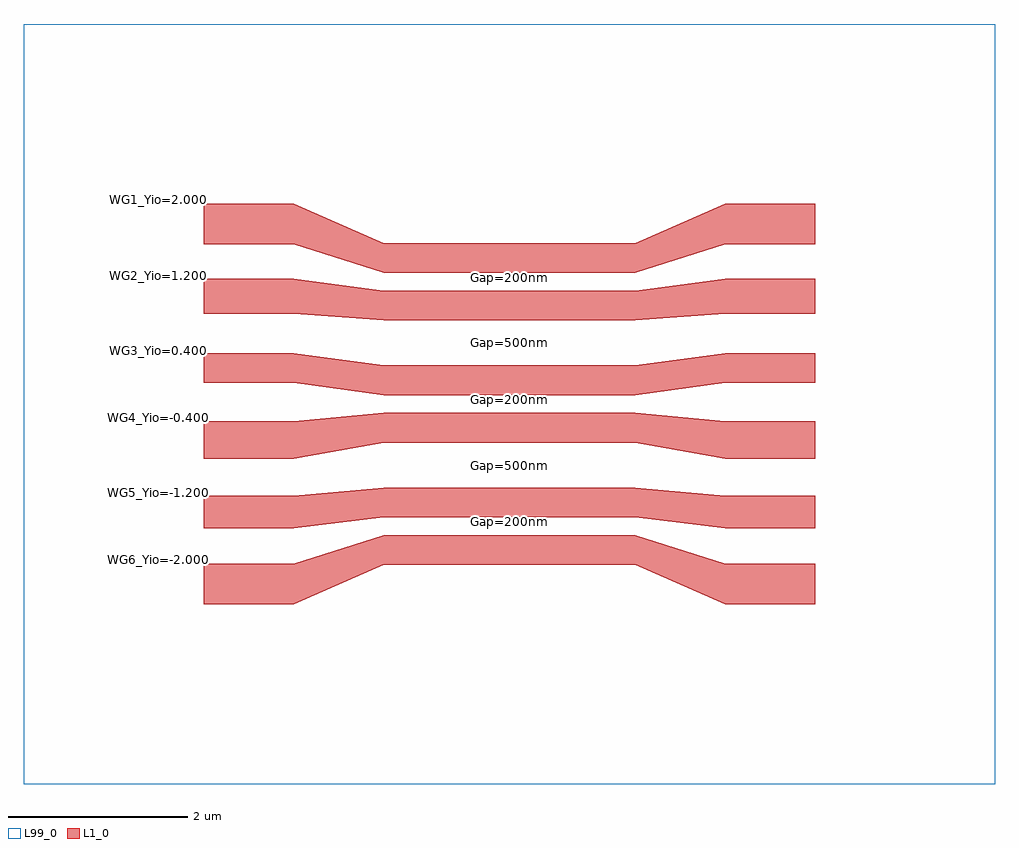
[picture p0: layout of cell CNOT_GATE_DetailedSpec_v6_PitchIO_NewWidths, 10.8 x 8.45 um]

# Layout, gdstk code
import gdstk
lib = gdstk.Library(unit=1e-6, precision=1e-09)
def R(c, l, rs):  # rectangles x0, y0, x1, y1
    for r in rs: c.add(gdstk.rectangle(r[:2], r[2:], *l))
def P(c, l, *ps):  # polygons
    for p in ps: c.add(gdstk.Polygon(p, *l))
L1_0 = (1, 0)
L99_0 = (99, 0)

cnot_gate_detailedspec_v = lib.new_cell('CNOT_GATE_DetailedSpec_v6_PitchIO_NewWidths')
R(cnot_gate_detailedspec_v, L1_0, [(0,-2.225,1,-1.775), (5.8,-2.225,6.8,-1.775), (2,-1.79,4.8,-1.46), (0,-1.38,1,-1.02), (5.8,-1.38,6.8,-1.02), (2,-1.26,4.8,-0.93), (0,-0.61,1,-0.19), (5.8,-0.61,6.8,-0.19), (2,-0.43,4.8,-0.1), (2,0.1,4.8,0.43), (0,0.235,1,0.565), (5.8,0.235,6.8,0.565), (2,0.93,4.8,1.26), (0,1.005,1,1.395), (5.8,1.005,6.8,1.395), (2,1.46,4.8,1.79), (0,1.775,1,2.225), (5.8,1.775,6.8,2.225)])
P(cnot_gate_detailedspec_v, L1_0, [(1,1.775),(2,1.46),(2,1.79),(1,2.225)],
  [(4.8,1.46),(5.8,1.775),(5.8,2.225),(4.8,1.79)],
  [(1,1.005),(2,0.93),(2,1.26),(1,1.395)],
  [(4.8,0.93),(5.8,1.005),(5.8,1.395),(4.8,1.26)],
  [(1,0.235),(2,0.1),(2,0.43),(1,0.565)],
  [(4.8,0.1),(5.8,0.235),(5.8,0.565),(4.8,0.43)],
  [(1,-0.61),(2,-0.43),(2,-0.1),(1,-0.19)],
  [(4.8,-0.43),(5.8,-0.61),(5.8,-0.19),(4.8,-0.1)],
  [(1,-1.38),(2,-1.26),(2,-0.93),(1,-1.02)],
  [(4.8,-1.26),(5.8,-1.38),(5.8,-1.02),(4.8,-0.93)],
  [(1,-2.225),(2,-1.79),(2,-1.46),(1,-1.775)],
  [(4.8,-1.79),(5.8,-2.225),(5.8,-1.775),(4.8,-1.46)])
R(cnot_gate_detailedspec_v, L99_0, [(-2,-4.225,8.8,4.225)])
cnot_gate_detailedspec_v.add(gdstk.Label('WG1_Yio=2.000', (-0.5,2.27), layer=2, texttype=0))
cnot_gate_detailedspec_v.add(gdstk.Label('WG2_Yio=1.200', (-0.5,1.434), layer=2, texttype=0))
cnot_gate_detailedspec_v.add(gdstk.Label('WG3_Yio=0.400', (-0.5,0.598), layer=2, texttype=0))
cnot_gate_detailedspec_v.add(gdstk.Label('WG4_Yio=-0.400', (-0.5,-0.148), layer=2, texttype=0))
cnot_gate_detailedspec_v.add(gdstk.Label('WG5_Yio=-1.200', (-0.5,-0.984), layer=2, texttype=0))
cnot_gate_detailedspec_v.add(gdstk.Label('WG6_Yio=-2.000', (-0.5,-1.73), layer=2, texttype=0))
cnot_gate_detailedspec_v.add(gdstk.Label('Gap=200nm', (3.4,1.41), layer=2, texttype=0))
cnot_gate_detailedspec_v.add(gdstk.Label('Gap=500nm', (3.4,0.68), layer=2, texttype=0))
cnot_gate_detailedspec_v.add(gdstk.Label('Gap=200nm', (3.4,0.05), layer=2, texttype=0))
cnot_gate_detailedspec_v.add(gdstk.Label('Gap=500nm', (3.4,-0.68), layer=2, texttype=0))
cnot_gate_detailedspec_v.add(gdstk.Label('Gap=200nm', (3.4,-1.31), layer=2, texttype=0))

lib.write_gds('CNOT_GATE_DetailedSpec_v6_PitchIO_NewWidths.gds')
